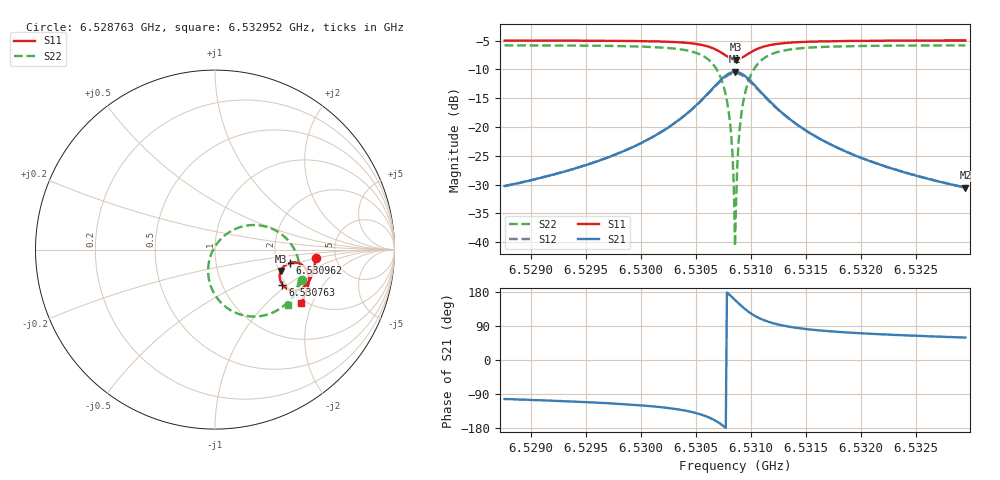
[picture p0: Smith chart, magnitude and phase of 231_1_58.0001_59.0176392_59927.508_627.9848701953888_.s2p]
#  HZ  S  RI  R  50.00
! Rohde & Schwarz Vector Network Analyzer
! Rohde-Schwarz,ZNB20-2Port,1311601062101988,3.16
! Created: UTC 3/21/2024, 1:00:39 AM
! freq[Hz]  re:S11  im:S11  re:S21  im:S21  re:S12  im:S12  re:S22  im:S22
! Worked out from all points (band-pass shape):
!   401 points, 6.528763 GHz to 6.532952 GHz, reference 50 ohm
!   highest |S21| = -10.42 dB at 6.530858 GHz (marker M1); lowest = -30.5 dB at 6.532952 GHz (marker M2)
!   |S21| within 3 dB of the highest: 6.530649 GHz to 6.531068 GHz (419.3 kHz wide, 0.00642 % of centre)
!   lowest |S11| = -8.3 dB at 6.530868 GHz (marker M3), VSWR 2.25, Z = 102 - j28.7 ohm
!   |S11| at or under -10 dB: nowhere
!   |S22| runs from -40.7 to -5.8 dB; largest |S21 - S12| = 0.012
!   S11 on the Smith chart (normalised r, x): 6.528763 GHz: 3.49, -0.49; 6.530763 GHz: 1.92, -0.92; 6.530962 GHz: 2.38, -0.43; 6.532952 GHz: 1.89, -1.65
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6.5287631e9  0.5603 -0.0479  -0.00694 -0.0299  -0.0075 -0.0296  0.4829 -0.1699
6.5294648e9  0.5511 -0.1065  -0.0162 -0.0425  -0.0171 -0.0422  0.4518 -0.2337
6.5301664e9  0.5242 -0.1763  -0.0491 -0.073  -0.0512 -0.0717  0.371 -0.3228
6.5304073e9  0.4979 -0.2066  -0.088 -0.0921  -0.0909 -0.0892  0.2915 -0.3621
6.5305853e9  0.455 -0.2267  -0.155 -0.0988  -0.1576 -0.0925  0.1675 -0.3682
6.53069e9  0.4107 -0.2221  -0.2237 -0.0731  -0.2229 -0.0636  0.0524 -0.313
6.5307633e9  0.376 -0.1958  -0.2741 -0.0155  -0.2685 -0.00573  -0.0225 -0.2073
6.5308052e9  0.3629 -0.1684  -0.29 0.0365  -0.2813 0.0446  -0.0385 -0.1182
6.5308261e9  0.3604 -0.1522  -0.2904 0.066  -0.2806 0.0724  -0.0339 -0.0697
6.5308366e9  0.3604 -0.144  -0.2886 0.0809  -0.2783 0.0866  -0.0281 -0.0455
6.5308471e9  0.3614 -0.1357  -0.2853 0.096  -0.2747 0.1005  -0.0199 -0.0218
6.5308576e9  0.3634 -0.1274  -0.2804 0.1105  -0.2698 0.1142  -0.00915 0.0011
6.530868e9  0.366 -0.1194  -0.2742 0.1246  -0.2633 0.1273  0.00374 0.0228
6.5308785e9  0.3696 -0.1118  -0.2665 0.1378  -0.2559 0.1397  0.0187 0.0431
6.530889e9  0.3739 -0.1048  -0.2579 0.1503  -0.2472 0.1511  0.0353 0.0618
6.5309099e9  0.3846 -0.0922  -0.2372 0.1716  -0.2276 0.1709  0.0726 0.0928
6.5309623e9  0.417 -0.0737  -0.178 0.2034  -0.1712 0.2004  0.1759 0.1339
6.5310356e9  0.4593 -0.0733  -0.104 0.2056  -0.1004 0.2027  0.3001 0.1231
6.5311403e9  0.4963 -0.095  -0.0401 0.1753  -0.0385 0.1736  0.4027 0.0566
6.5315592e9  0.5233 -0.174  0.0151 0.0849  0.0161 0.0845  0.4722 -0.1331
6.5322608e9  0.5052 -0.2458  0.0173 0.0407  0.0182 0.0404  0.4434 -0.2481
6.532952e9  0.4792 -0.2978  0.0152 0.0255  0.0157 0.0253  0.4083 -0.3081
